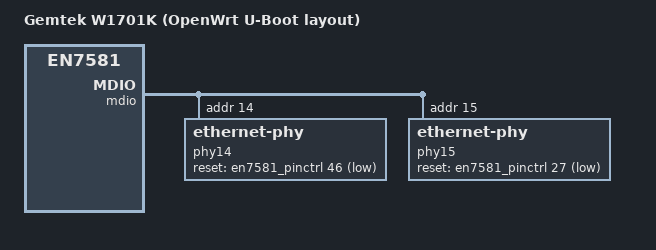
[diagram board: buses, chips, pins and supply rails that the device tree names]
// SPDX-License-Identifier: GPL-2.0-or-later OR MIT

/* The UBI 2.0 layout, status LEDs and MT7996 match the W1700K. */
#include "an7581-w1700k-ubi.dts"

/ {
	model = "Gemtek W1701K (OpenWrt U-Boot layout)";
	compatible = "gemtek,w1701k-ubi", "airoha,an7581", "airoha,en7581";
};

&{/leds} {
	/delete-node/ led-4;
	/delete-node/ led-5;
	/delete-node/ led-6;
	/delete-node/ led-7;
};

&gdm1 {
	nvmem-cells = <&lan_mac 4>;
};

&gdm2 {
	/delete-property/ managed;
	phy-handle = <&phy15>;
	phy-mode = "2500base-x";
	nvmem-cells = <&lan_mac 5>;
	openwrt,netdev-name = "lan1";
};

&gdm4 {
	/delete-property/ managed;
	phy-handle = <&phy14>;
	phy-mode = "2500base-x";
};

&gsw_phy1 {
	status = "disabled";
};

&gsw_phy2 {
	status = "disabled";
};

&gsw_port1 {
	status = "disabled";
};

&gsw_port2 {
	status = "disabled";
};

&switch {
	mdio {
		/delete-node/ ethernet-phy@5;
		/delete-node/ ethernet-phy@8;

		phy14: ethernet-phy@e {
			reg = <14>;
			reset-gpios = <&en7581_pinctrl 46 GPIO_ACTIVE_LOW>;
			reset-assert-us = <10000>;
			reset-deassert-us = <20000>;

			leds {
				#address-cells = <1>;
				#size-cells = <0>;

				led@0 {
					reg = <0>;
					color = <LED_COLOR_ID_GREEN>;
					function = LED_FUNCTION_LAN;
					function-enumerator = <2>;
					default-state = "keep";
				};

				led@1 {
					reg = <1>;
					color = <LED_COLOR_ID_YELLOW>;
					function = LED_FUNCTION_LAN;
					function-enumerator = <2>;
					default-state = "keep";
				};
			};
		};

		phy15: ethernet-phy@f {
			reg = <15>;
			reset-gpios = <&en7581_pinctrl 27 GPIO_ACTIVE_LOW>;
			reset-assert-us = <10000>;
			reset-deassert-us = <20000>;

			leds {
				#address-cells = <1>;
				#size-cells = <0>;

				led@0 {
					reg = <0>;
					color = <LED_COLOR_ID_GREEN>;
					function = LED_FUNCTION_LAN;
					function-enumerator = <1>;
					default-state = "keep";
				};

				led@1 {
					reg = <1>;
					color = <LED_COLOR_ID_YELLOW>;
					function = LED_FUNCTION_LAN;
					function-enumerator = <1>;
					default-state = "keep";
				};
			};
		};
	};
};
